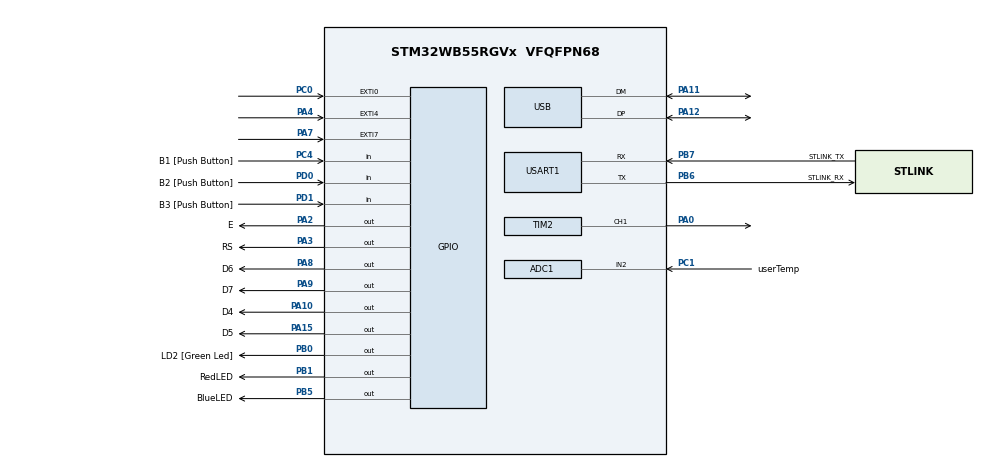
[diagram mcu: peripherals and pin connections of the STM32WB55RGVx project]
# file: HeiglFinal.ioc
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ADC1.Channel-0\#ChannelRegularConversion=ADC_CHANNEL_2
ADC1.NbrOfConversionFlag=1
ADC1.OffsetNumber-0\#ChannelRegularConversion=ADC_OFFSET_NONE
ADC1.Rank-0\#ChannelRegularConversion=1
ADC1.SamplingTime-0\#ChannelRegularConversion=ADC_SAMPLETIME_2CYCLES_5
ADC1.master=1
FREERTOS.Tasks01=LEDTask01,24,128,StartDefaultTask,Default,NULL,Dynamic,NULL,NULL;LEDTask02,8,128,StartTask02,Default,NULL,Dynamic,NULL,NULL
FREERTOS.Timers01=tempCheck,tempCheckCallBack,osTimerPeriodic,Default,NULL,Dynamic,NULL;checkADC,checkADCCallBack,osTimerPeriodic,Default,NULL,Dynamic,NULL
Mcu.Family=STM32WB
Mcu.Name=STM32WB55RGVx
Mcu.Package=VFQFPN68
NVIC.PriorityGroup=NVIC_PRIORITYGROUP_4
OSC_IN.Mode=HSE-External-Oscillator
OSC_IN.Signal=RCC_OSC_IN
OSC_OUT.Mode=HSE-External-Oscillator
OSC_OUT.Signal=RCC_OSC_OUT
PA0.Signal=S_TIM2_CH1
PA10.GPIO_Label=D4
PA10.Signal=GPIO_Output
PA11.Mode=Device
PA11.Signal=USB_DM
PA12.Mode=Device
PA12.Signal=USB_DP
PA13.GPIO_Label=JTMS
PA13.Mode=Trace_Asynchronous_SW
PA13.Signal=SYS_JTMS-SWDIO
PA14.GPIO_Label=JTCK
PA14.Mode=Trace_Asynchronous_SW
PA14.Signal=SYS_JTCK-SWCLK
PA15.GPIO_Label=D5
PA15.Signal=GPIO_Output
PA2.GPIO_Label=E
PA2.Signal=GPIO_Output
PA3.GPIO_Label=RS
PA3.Signal=GPIO_Output
PA4.Signal=GPXTI4
PA7.Signal=GPXTI7
PA8.GPIO_Label=D6
PA8.Signal=GPIO_Output
PA9.GPIO_Label=D7
PA9.Signal=GPIO_Output
PB0.GPIO_Label=LD2 [Green Led]
PB0.Signal=GPIO_Output
PB1.GPIO_Label=RedLED
PB1.Signal=GPIO_Output
PB3.GPIO_Label=JTDO
PB3.Mode=Trace_Asynchronous_SW
PB3.Signal=SYS_JTDO-SWO
PB5.GPIO_Label=BlueLED
PB5.Signal=GPIO_Output
PB6.GPIO_Label=STLINK_RX
PB6.GPIO_PuPd=GPIO_PULLUP
PB6.Mode=Asynchronous
PB6.Signal=USART1_TX
PB7.GPIO_Label=STLINK_TX
PB7.GPIO_PuPd=GPIO_PULLUP
PB7.Mode=Asynchronous
PB7.Signal=USART1_RX
PC0.Signal=GPXTI0
PC1.GPIO_Label=userTemp
PC1.Signal=ADCx_IN2
PC13.Mode=SYS_WakeUp1
PC13.Signal=SYS_WKUP2
PC14-OSC32_IN.Mode=LSE-External-Oscillator
PC14-OSC32_IN.Signal=RCC_OSC32_IN
PC15-OSC32_OUT.Mode=LSE-External-Oscillator
PC15-OSC32_OUT.Signal=RCC_OSC32_OUT
PC4.GPIO_Label=B1 [Push Button]
PC4.Signal=GPIO_Input
PD0.GPIO_Label=B2 [Push Button]
PD0.Signal=GPIO_Input
PD1.GPIO_Label=B3 [Push Button]
PD1.Signal=GPIO_Input
ProjectManager.HeapSize=0x200
ProjectManager.StackSize=0x400
ProjectManager.TargetToolchain=Makefile
RCC.ADCFreq_Value=48000000
RCC.AHB2CLKDivider=RCC_SYSCLK_DIV2
RCC.AHBCLKDivider=RCC_SYSCLK_DIV2
RCC.AHBFreq_Value=32000000
RCC.APB1Freq_Value=32000000
RCC.APB1TimFreq_Value=32000000
RCC.APB2Freq_Value=32000000
RCC.APB2TimFreq_Value=32000000
RCC.APB3Freq_Value=16000000
RCC.CortexFreq_Value=32000000
RCC.HCLKFreq_Value=32000000
RCC.HSE_VALUE=32000000
RCC.HSI48_VALUE=48000000
RCC.HSI_VALUE=16000000
RCC.LSE_Drive_Capability=RCC_LSEDRIVE_LOW
RCC.PLLN=32
RCC.PLLSAI1N=24
RCC.SMPSCLockSelectionVirtual=RCC_SMPSCLKSOURCE_HSI
RCC.SMPSCLockSelectionVirtualVirtual=RCC_SMPSCLKSOURCE_HSI
RCC.SMPSDivider=1
RCC.SYSCLKFreq_VALUE=64000000
RCC.SYSCLKSource=RCC_SYSCLKSOURCE_PLLCLK
RCC.USBFreq_Value=48000000
RCC.VCOOutputFreq_Value=128000000
SH.ADCx_IN2.0=ADC1_IN2,IN2-Single-Ended
SH.S_TIM2_CH1.0=TIM2_CH1,PWM Generation1 CH1
TIM2.Channel-PWM\ Generation1\ CH1=TIM_CHANNEL_1
TIM2.Prescaler=0
USART1.VirtualMode-Asynchronous=VM_ASYNC
USART1.WordLength=WORDLENGTH_7B
VP_FREERTOS_VS_CMSIS_V2.Mode=CMSIS_V2
VP_TIM2_VS_ClockSourceINT.Mode=Internal
board=P-NUCLEO-WB55-NUCLEO

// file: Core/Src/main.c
/* USER CODE BEGIN Header */
/**
  ******************************************************************************
  * @file           : main.c
  * @brief          : Main program body
  ******************************************************************************
  * @attention
  *
  * Copyright (c) 2022 STMicroelectronics.
  * All rights reserved.
  *
  * This software is licensed under terms that can be found in the LICENSE file
  * in the root directory of this software component.
  * If no LICENSE file comes with this software, it is provided AS-IS.
  *
  ******************************************************************************
  */
/* USER CODE END Header */
#include "main.h"
#include "cmsis_os.h"
#include "adc.h"
#include "tim.h"
#include "usart.h"
#include "usb.h"
#include "gpio.h"

/* USER CODE BEGIN Includes */
#include "lcd16x2.h"
/* USER CODE END Includes */

void SystemClock_Config(void);
void PeriphCommonClock_Config(void);
void MX_FREERTOS_Init(void);

int main(void)
{

  /* MCU Configuration--------------------------------------------------------*/

  /* Reset of all peripherals, Initializes the Flash interface and the Systick. */
  HAL_Init();

  /* Configure the system clock */
  SystemClock_Config();

/* Configure the peripherals common clocks */
  PeriphCommonClock_Config();

  /* Initialize all configured peripherals */
  MX_GPIO_Init();
  MX_USART1_UART_Init();
  MX_USB_PCD_Init();
  MX_TIM2_Init();
  MX_ADC1_Init();

  /* Init scheduler */
  osKernelInitialize();  /* Call init function for freertos objects (in freertos.c) */
  MX_FREERTOS_Init();

  /* Start scheduler */
  osKernelStart();

  /* We should never get here as control is now taken by the scheduler */
  /* Infinite loop */
  while (1)
  {

  }
}

void SystemClock_Config(void)
{
  RCC_OscInitTypeDef RCC_OscInitStruct = {0};
  RCC_ClkInitTypeDef RCC_ClkInitStruct = {0};

  /** Configure LSE Drive Capability
  */
  HAL_PWR_EnableBkUpAccess();
  __HAL_RCC_LSEDRIVE_CONFIG(RCC_LSEDRIVE_LOW);

  /** Configure the main internal regulator output voltage
  */
  __HAL_PWR_VOLTAGESCALING_CONFIG(PWR_REGULATOR_VOLTAGE_SCALE1);

  /** Initializes the RCC Oscillators according to the specified parameters
  * in the RCC_OscInitTypeDef structure.
  */
  RCC_OscInitStruct.OscillatorType = RCC_OSCILLATORTYPE_HSI|RCC_OSCILLATORTYPE_HSE
                              |RCC_OSCILLATORTYPE_LSE|RCC_OSCILLATORTYPE_MSI;
  RCC_OscInitStruct.HSEState = RCC_HSE_ON;
  RCC_OscInitStruct.LSEState = RCC_LSE_ON;
  RCC_OscInitStruct.HSIState = RCC_HSI_ON;
  RCC_OscInitStruct.MSIState = RCC_MSI_ON;
  RCC_OscInitStruct.HSICalibrationValue = RCC_HSICALIBRATION_DEFAULT;
  RCC_OscInitStruct.MSICalibrationValue = RCC_MSICALIBRATION_DEFAULT;
  RCC_OscInitStruct.MSIClockRange = RCC_MSIRANGE_6;
  RCC_OscInitStruct.PLL.PLLState = RCC_PLL_ON;
  RCC_OscInitStruct.PLL.PLLSource = RCC_PLLSOURCE_MSI;
  RCC_OscInitStruct.PLL.PLLM = RCC_PLLM_DIV1;
  RCC_OscInitStruct.PLL.PLLN = 32;
  RCC_OscInitStruct.PLL.PLLP = RCC_PLLP_DIV2;
  RCC_OscInitStruct.PLL.PLLR = RCC_PLLR_DIV2;
  RCC_OscInitStruct.PLL.PLLQ = RCC_PLLQ_DIV2;
  if (HAL_RCC_OscConfig(&RCC_OscInitStruct) != HAL_OK)
  {
    Error_Handler();
  }

  /** Configure the SYSCLKSource, HCLK, PCLK1 and PCLK2 clocks dividers
  */
  RCC_ClkInitStruct.ClockType = RCC_CLOCKTYPE_HCLK4|RCC_CLOCKTYPE_HCLK2
                              |RCC_CLOCKTYPE_HCLK|RCC_CLOCKTYPE_SYSCLK
                              |RCC_CLOCKTYPE_PCLK1|RCC_CLOCKTYPE_PCLK2;
  RCC_ClkInitStruct.SYSCLKSource = RCC_SYSCLKSOURCE_PLLCLK;
  RCC_ClkInitStruct.AHBCLKDivider = RCC_SYSCLK_DIV2;
  RCC_ClkInitStruct.APB1CLKDivider = RCC_HCLK_DIV1;
  RCC_ClkInitStruct.APB2CLKDivider = RCC_HCLK_DIV1;
  RCC_ClkInitStruct.AHBCLK2Divider = RCC_SYSCLK_DIV2;
  RCC_ClkInitStruct.AHBCLK4Divider = RCC_SYSCLK_DIV1;

  if (HAL_RCC_ClockConfig(&RCC_ClkInitStruct, FLASH_LATENCY_3) != HAL_OK)
  {
    Error_Handler();
  }

  /** Enable MSI Auto calibration
  */
  HAL_RCCEx_EnableMSIPLLMode();
}

void PeriphCommonClock_Config(void)
{
  RCC_PeriphCLKInitTypeDef PeriphClkInitStruct = {0};

  /** Initializes the peripherals clock
  */
  PeriphClkInitStruct.PeriphClockSelection = RCC_PERIPHCLK_SMPS|RCC_PERIPHCLK_USB
                              |RCC_PERIPHCLK_ADC;
  PeriphClkInitStruct.PLLSAI1.PLLN = 24;
  PeriphClkInitStruct.PLLSAI1.PLLP = RCC_PLLP_DIV2;
  PeriphClkInitStruct.PLLSAI1.PLLQ = RCC_PLLQ_DIV2;
  PeriphClkInitStruct.PLLSAI1.PLLR = RCC_PLLR_DIV2;
  PeriphClkInitStruct.PLLSAI1.PLLSAI1ClockOut = RCC_PLLSAI1_USBCLK|RCC_PLLSAI1_ADCCLK;
  PeriphClkInitStruct.UsbClockSelection = RCC_USBCLKSOURCE_PLLSAI1;
  PeriphClkInitStruct.AdcClockSelection = RCC_ADCCLKSOURCE_PLLSAI1;
  PeriphClkInitStruct.SmpsClockSelection = RCC_SMPSCLKSOURCE_HSI;
  PeriphClkInitStruct.SmpsDivSelection = RCC_SMPSCLKDIV_RANGE0;

  if (HAL_RCCEx_PeriphCLKConfig(&PeriphClkInitStruct) != HAL_OK)
  {
    Error_Handler();
  }
}

void Error_Handler(void)
{
  __disable_irq();
  while (1)
  {
  }
}

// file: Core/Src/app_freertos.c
/* USER CODE BEGIN Header */
/**
  ******************************************************************************
  * File Name          : app_freertos.c
  * Description        : Code for freertos applications
  ******************************************************************************
  * @attention
  *
  * Copyright (c) 2022 STMicroelectronics.
  * All rights reserved.
  *
  * This software is licensed under terms that can be found in the LICENSE file
  * in the root directory of this software component.
  * If no LICENSE file comes with this software, it is provided AS-IS.
  *
  ******************************************************************************
  */
/* USER CODE END Header */

#include "FreeRTOS.h"
#include "task.h"
#include "main.h"
#include "cmsis_os.h"

/* USER CODE BEGIN Includes */
#include "lcd16x2.h"
#include "tim.h"
#include "adc.h"
#include "DHT.h"
#include "DC_MOTOR.h"
#define DC_MOTOR1 0
/* USER CODE END Includes */

/* Definitions for LEDTask01 */
osThreadId_t LEDTask01Handle;
const osThreadAttr_t LEDTask01_attributes = {
  .name = "LEDTask01",
  .priority = (osPriority_t) osPriorityNormal,
  .stack_size = 128 * 4
};
/* Definitions for LEDTask02 */
osThreadId_t LEDTask02Handle;
const osThreadAttr_t LEDTask02_attributes = {
  .name = "LEDTask02",
  .priority = (osPriority_t) osPriorityLow,
  .stack_size = 128 * 4
};
/* Definitions for tempCheck */
osTimerId_t tempCheckHandle;
const osTimerAttr_t tempCheck_attributes = {
  .name = "tempCheck"
};
/* Definitions for checkADC */
osTimerId_t checkADCHandle;
const osTimerAttr_t checkADC_attributes = {
  .name = "checkADC"
};

/* USER CODE BEGIN FunctionPrototypes */

void Display_Temp(float Temp, float Rh){
  lcd16x2_clear();
  lcd16x2_1stLine();
  lcd16x2_printf("Temp: %dC RH: %d", (int)Temp, (int)Rh);
}

DHT_DataTypedef DHT11_Data;
float Temperature = 0;
float Humidity = 0;

/* USER CODE END FunctionPrototypes */

void StartDefaultTask(void *argument);
void StartTask02(void *argument);
void tempCheckCallBack(void *argument);
void checkADCCallBack(void *argument);

void MX_FREERTOS_Init(void); /* (MISRA C 2004 rule 8.1) */

void MX_FREERTOS_Init(void) {

  /* Create the timer(s) */
  /* creation of tempCheck */
  tempCheckHandle = osTimerNew(tempCheckCallBack, osTimerPeriodic, NULL, &tempCheck_attributes);

  /* creation of checkADC */
  checkADCHandle = osTimerNew(checkADCCallBack, osTimerPeriodic, NULL, &checkADC_attributes);

  /* Create the thread(s) */
  /* creation of LEDTask01 */
  LEDTask01Handle = osThreadNew(StartDefaultTask, NULL, &LEDTask01_attributes);

  /* creation of LEDTask02 */
  LEDTask02Handle = osThreadNew(StartTask02, NULL, &LEDTask02_attributes);

}

void StartDefaultTask(void *argument)
{
  /* USER CODE BEGIN StartDefaultTask */
  MX_TIM2_Init();
  HAL_TIM_Base_Start(&htim2);

  MX_ADC1_Init();

  lcd16x2_init_4bits(GPIOA, RS_Pin, E_Pin, GPIOA, D4_Pin, D5_Pin, D6_Pin, D7_Pin);
  lcd16x2_printf("Starting Program!");

  osTimerStart(tempCheckHandle, 3000);
  osTimerStart(checkADCHandle, 200);

  DC_MOTOR_Init(DC_MOTOR1);
  DC_MOTOR_Start(DC_MOTOR1, DIR_CW, 0);
  /* Infinite loop */
  for (;;){
    osDelay(1);
    HAL_GPIO_TogglePin(GPIOB, BlueLED_Pin);
    vTaskDelay(500 / portTICK_PERIOD_MS);
  }
  /* USER CODE END StartDefaultTask */
}

void StartTask02(void *argument)
{
  /* USER CODE BEGIN StartTask02 */
  /* Infinite loop */
  for(;;)
  {
    osDelay(1);
    HAL_GPIO_TogglePin(GPIOB, RedLED_Pin);
    vTaskDelay(100 / portTICK_PERIOD_MS);
  }
  /* USER CODE END StartTask02 */
}

/* tempCheckCallBack function */
void tempCheckCallBack(void *argument)
{
  /* USER CODE BEGIN tempCheckCallBack */
  DHT_GetData(&DHT11_Data);
  Temperature = DHT11_Data.Temperature;
  Humidity = DHT11_Data.Humidity;
  Display_Temp(Temperature, Humidity);
  /* USER CODE END tempCheckCallBack */
}

/* checkADCCallBack function */
void checkADCCallBack(void *argument)
{
  /* USER CODE BEGIN checkADCCallBack */
  // Get ADC value
  uint16_t raw;
  uint16_t cThreshold;
  int convertedC;

  HAL_ADC_Start(&hadc1);
  HAL_ADC_PollForConversion(&hadc1, HAL_MAX_DELAY);
  raw = HAL_ADC_GetValue(&hadc1);
  convertedC = (raw * 40) / 4095; // User can set the desired temp from 0-40 celcius
  lcd16x2_2ndLine();
  lcd16x2_printf("Desired Temp:%dC", convertedC);
  if (convertedC > Temperature){
    cThreshold = 0;
    DC_MOTOR_Set_Speed(DC_MOTOR1, cThreshold);
  }
  else{
    cThreshold = raw;
    DC_MOTOR_Set_Speed(DC_MOTOR1, (4095 - cThreshold) >> 2);
  }
  /* USER CODE END checkADCCallBack */
}
